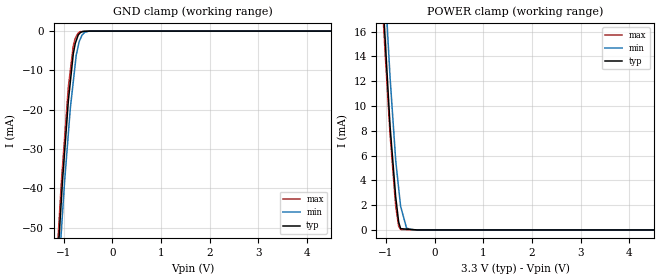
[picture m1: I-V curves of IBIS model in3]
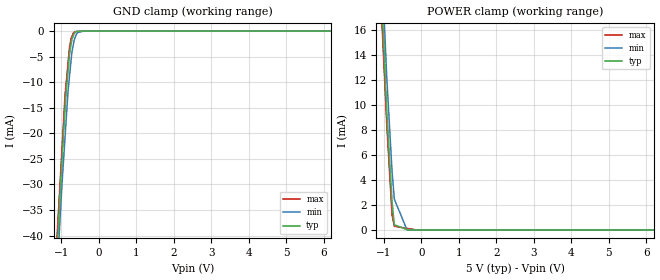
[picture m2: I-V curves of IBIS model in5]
| Teraspeed Labs Modeling Services.
| http://www.teraspeedlabs.com
[IBIS Ver]   3.2
[Comment Char] |_char
[File Name]   ad9765ast.ibs
[File Rev]   3.0
[Source]  Teraspeed Labs.
[Date]   05-27-2015
[Notes]   Quality Check of this IBIS model: Model Passes IBIS Check
   Model parses into ICX IS. Simulation done with Hyperlynx.
   1. MIN TYP MAX information is based on Temprature and Voltage
   characteristics only.
[Disclaimer]
| Use: Teraspeed Labs ("Teraspeed") has
| licensed IBIS models to specific integrated circuit
| suppliers ("IC Vendors") for use and distribution as
| follows: Each IC Vendor may use IBIS Models, and distribute
| them to IC Vendor's custumers to use solely for developing
| printed circute board designs. Users of this model may
| modify the IBIS model to suit its specific applications but
| rights to derivative works and such modifications shell belong
| to Teraspeed. No other distribution of these materials is
| permitted.
| DISCLAIMER OF WARRANTY: UNLESS OTHERWISE AGREED TO IN WRITING
| TERASPEED DISCLAIMS AND USER WAIVES ALL WARRANTIES, EXPRESS
| OR IMPLIED, INCLUDING WARRANTIES OF MERCHANTABILITY AND
| FITNESS FOR A PARTICULAR PURPOSE. IN NO EVENT SHALL
| TERASPEED BE LIABLE FOR ANY DIRECT OR INDIRECT DAMAGES,
| WHETHER IN CONTRACT OR TORT, INCLUDING, WITHOUT LIMITATION,
| LOST PROFITS, BUSINESS INTERRUPTION, OR LOST INFORMATION
| ARISING OUT OF THE USE OF OR THE INABILITY TO USE THE MODEL,
| EVEN IF TERASPEED HAS BEEN ADVISED OF THE POSSIBILITY OF SUCH
| DAMAGES.
[Copyright]
| This file is the legal property of Teraspeed Copyright(c) 2015.
| All other rights are reserved.
[Component] AD9765AST
[Manufacturer] Analog Devices
[Package]
| variable   typ   min   max
R_pkg  0.060ohms  0.058ohms  0.062ohms
L_pkg  4.957nH   4.820nH   5.130nH
C_pkg  0.258pF   0.240pF   0.280pF
[Pin] signal_name  model_name  R_pin  L_pin C_pin
1   DB11-P1   in   0.062  5.13n  0.28p
2   DB10-P1   in   0.06   5.04n  0.27p
3   DB9-P1   in   0.059  4.95n  0.26p
4   DB8-P1   in   0.059  4.9n   0.25p
5   DB7-P1   in   0.058  4.87n  0.25p
6   DB6-P1   in   0.058  4.85n  0.24p
7   DB5-P1   in   0.058  4.85n  0.24p
8   DB4-P1   in   0.058  4.87n  0.25p
9   DB3-P1   in   0.059  4.9n   0.25p
10  DB2-P1   in   0.059  4.95n  0.26p
11  DB1-P1   in   0.06   5.04n  0.27p
12  DB0-P1   in   0.062  5.13n  0.28p
13  NC   NC   0.062  5.13n  0.28p
14  NC   NC   0.06   5.04n  0.27p
15  DCOM1   GND   0.059  4.95n  0.26p
16  DVDD1   POWER 0.059  4.9n   0.25p
17  WRT1/IQWRT   in   0.058  4.87n  0.25p
18  CLK1/IQCLK   in   0.058  4.85n  0.24p
19  CLK2/IQRESET  in   0.058  4.85n  0.24p
20  WRT2/IQSEL   in   0.058  4.87n  0.25p
21  DCOM2   GND   0.059  4.9n   0.25p
22  DVDD2   POWER 0.059  4.95n  0.26p
23  DB11-P2   in   0.06   5.04n  0.27p
24  DB10-P2   in   0.062  5.13n  0.28p
25  DB9-P2   in   0.062  5.13n  0.28p
26  DB8-P2   in   0.06   5.04n  0.27p
27  DB7-P2   in   0.059  4.95n  0.26p
28  DB6-P2   in   0.059  4.9n   0.25p
29  DB5-P2   in   0.058  4.87n  0.25p
30  DB4-P2   in   0.058  4.85n  0.24p
31  DB3-P2   in   0.058  4.85n  0.24p
32  DB2-P2   in   0.058  4.87n  0.25p
33  DB1-P2   in   0.059  4.9n   0.25p
34  DB0-P2   in   0.059  4.95n  0.26p
35  NC   NC   0.06   5.04n  0.27p
36  NC   NC   0.062  5.13n  0.28p
37  SLEEP   in   0.062  5.13n  0.28p
38  ACOM   GND   0.06   5.04n  0.27p
39  IOUTA2   NC   0.059  4.95n  0.26p
40  IOUTB2   NC   0.059  4.9n   0.25p
41  FSADJ2   in   0.058  4.87n  0.25p
42  GAINCTRL   NC   0.058  4.85n  0.24p
43  REFIO   NC   0.058  4.85n  0.24p
44  FSADJ1   in   0.058  4.87n  0.25p
45  IOUTB1   NC   0.059  4.9n   0.25p
46  IOUTA1   NC   0.059  4.95n  0.26p
47  AVDD   POWER 0.06   5.04n  0.27p
48  MODE   in   0.062  5.13n  0.28p
[Model Selector] in
in3   3.3V operation
in5   5.0V operation
| Models and submodels in the file (2): in3 (Input), in5 (Input)
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[Model] in3
Model_type Input
Vinl  = 900.0mV
Vinh  = 2.100V
C_comp  2.00000pF 2.00000pF 2.00000pF
| variable   typ   min   max
[Voltage Range]   3.30000V  3.00000V  3.60000V
[POWER Clamp Reference]  3.30000V  3.00000V  3.60000V
[GND Clamp Reference]   0.00000V  0.00000V  0.00000V
[Temperature Range]   25   85   0
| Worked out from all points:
|   GND clamp passes 1 mA (typ) near -0.70 V on its own axis
|   POWER clamp passes 1 mA (typ) near -0.75 V on its own axis
[GND Clamp]
-3.3V     -503mA     -481mA     -505.1mA
-1.043V   -42.37mA   -50.43mA   -38.05mA
-1.023V   -38.29mA   -46.61mA   -34.68mA
-982.4mV  -31.45mA   -38.92mA   -27.88mA
-901.1mV  -17.65mA   -25.99mA   -14.17mA
-860.9mV  -12.92mA   -19.61mA   -10.02mA
-800.3mV  -5.765mA   -12.87mA   -3.737mA
-739.5mV  -2.43mA    -6.107mA   -1.383mA
-658.8mV  -425.4uA   -2.102mA   -146.9uA
-552.3mV  -38.66uA   -190.6uA   -74.45uA
-439.2mV  -6.381uA   -6.354uA   0A
6.6V      0A         0A         0A
[POWER Clamp]
-3.3V     174.5mA    180.9mA    170.6mA
-1.059V   18.21mA    22.32mA    17.06mA
-1.019V   15.39mA    19.46mA    14.29mA
-918.1mV  8.364mA    12.34mA    7.749mA
-801.9mV  2.658mA    5.608mA    1.921mA
-741.1mV  632.9uA    3.36mA     307.5uA
-700.7mV  103.5uA    1.908mA    36.45uA
-579.2mV  67.61uA    151.3uA    27.43uA
-381.7mV  9.262uA    0A         12.78uA
6.6V      0A         0A         0A
[Model] in5
Model_type Input
Vinl  = 1.300V
Vinh  = 3.500V
C_comp  2.00000pF  2.00000pF  2.00000pF
| variable   typ   min   max
[Voltage Range]   5.00000V  4.50000V  5.50000V
[POWER Clamp Reference]  5.00000V  4.50000V  5.50000V
[GND Clamp Reference]   0.00000V  0.00000V  0.00000V
[Temperature Range]   25   85   0
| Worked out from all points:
|   GND clamp passes 1 mA (typ) near -0.68 V on its own axis
|   POWER clamp passes 1 mA (typ) near -0.74 V on its own axis
[GND Clamp]
-5V       -609.4mA   -566.7mA   -544.1mA
-1.022V   -30.49mA   -35.33mA   -28.26mA
-982.1mV  -25.5mA    -29.93mA   -23.02mA
-901mV    -15.5mA    -20.81mA   -12.51mA
-880.8mV  -13.01mA   -18.53mA   -10.93mA
-820.5mV  -7.908mA   -11.74mA   -6.216mA
-780mV    -4.474mA   -8.734mA   -3.044mA
-719.2mV  -1.666mA   -4.221mA   -1.087mA
-658.6mV  -508.8uA   -1.799mA   -256.1uA
-610.4mV  -50.34uA   -835.9uA   -123uA
-338.8mV  0A         0A         0A
10V       0A         0A         0A
[POWER Clamp]
-5V       289.5mA    291.4mA    266.5mA
-1.24V    31.4mA     34.01mA    28.44mA
-922.2mV  9.565mA    12.24mA    8.482mA
-780.6mV  2.292mA    4.712mA    1.186mA
-719.5mV  420uA      2.466mA    291uA
-380.6mV  24.34uA    0A         126.5uA
-68.6mV   0A         0A         0A
10V       0A         0A         0A
